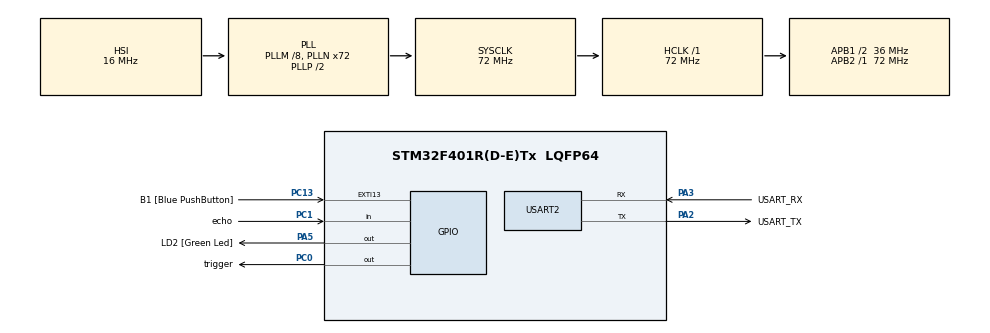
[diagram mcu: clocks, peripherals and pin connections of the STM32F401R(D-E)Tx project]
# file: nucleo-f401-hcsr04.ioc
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Mcu.Family=STM32F4
Mcu.Name=STM32F401R(D-E)Tx
Mcu.Package=LQFP64
NVIC.PriorityGroup=NVIC_PRIORITYGROUP_0
PA13.GPIO_Label=TMS
PA13.Mode=Serial_Wire
PA13.Signal=SYS_JTMS-SWDIO
PA14.GPIO_Label=TCK
PA14.Mode=Serial_Wire
PA14.Signal=SYS_JTCK-SWCLK
PA2.GPIO_Label=USART_TX
PA2.GPIO_Mode=GPIO_MODE_AF_PP
PA2.GPIO_PuPd=GPIO_NOPULL
PA2.GPIO_Speed=GPIO_SPEED_FREQ_LOW
PA2.Mode=Asynchronous
PA2.Signal=USART2_TX
PA3.GPIO_Label=USART_RX
PA3.GPIO_Mode=GPIO_MODE_AF_PP
PA3.GPIO_PuPd=GPIO_NOPULL
PA3.GPIO_Speed=GPIO_SPEED_FREQ_LOW
PA3.Mode=Asynchronous
PA3.Signal=USART2_RX
PA5.GPIO_Label=LD2 [Green Led]
PA5.GPIO_Mode=GPIO_MODE_OUTPUT_PP
PA5.GPIO_PuPd=GPIO_NOPULL
PA5.GPIO_Speed=GPIO_SPEED_FREQ_LOW
PA5.Signal=GPIO_Output
PB3.GPIO_Label=SWO
PB3.Signal=SYS_JTDO-SWO
PC0.GPIO_Label=trigger
PC0.Signal=GPIO_Output
PC1.GPIO_Label=echo
PC1.Signal=GPIO_Input
PC13-ANTI_TAMP.GPIO_Label=B1 [Blue PushButton]
PC13-ANTI_TAMP.GPIO_ModeDefaultEXTI=GPIO_MODE_IT_FALLING
PC13-ANTI_TAMP.GPIO_PuPd=GPIO_NOPULL
PC13-ANTI_TAMP.Signal=GPXTI13
PC14-OSC32_IN.Mode=LSE-External-Oscillator
PC14-OSC32_IN.Signal=RCC_OSC32_IN
PC15-OSC32_OUT.Mode=LSE-External-Oscillator
PC15-OSC32_OUT.Signal=RCC_OSC32_OUT
PH0\ -\ OSC_IN.Mode=HSE-External-Clock-Source
PH0\ -\ OSC_IN.Signal=RCC_OSC_IN
PH1\ -\ OSC_OUT.Mode=HSE-External-Clock-Source
PH1\ -\ OSC_OUT.Signal=RCC_OSC_OUT
ProjectManager.HeapSize=0x200
ProjectManager.StackSize=0x400
ProjectManager.TargetToolchain=STM32CubeIDE
RCC.48MHZClocksFreq_Value=20571428.57142857
RCC.AHBFreq_Value=72000000
RCC.APB1CLKDivider=RCC_HCLK_DIV2
RCC.APB1Freq_Value=36000000
RCC.APB1TimFreq_Value=72000000
RCC.APB2Freq_Value=72000000
RCC.APB2TimFreq_Value=72000000
RCC.CortexFreq_Value=72000000
RCC.HCLKFreq_Value=72000000
RCC.HSE_VALUE=8000000
RCC.HSI_VALUE=16000000
RCC.PLLM=8
RCC.PLLN=72
RCC.PLLQ=7
RCC.SYSCLKFreq_VALUE=72000000
RCC.SYSCLKSource=RCC_SYSCLKSOURCE_PLLCLK
RCC.VCOOutputFreq_Value=144000000
USART2.VirtualMode=VM_ASYNC
board=NUCLEO-F401RE

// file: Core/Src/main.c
/* USER CODE BEGIN Header */
/**
  ******************************************************************************
  * @file           : main.c
  * @brief          : Main program body
  ******************************************************************************
  * @attention
  *
  * <h2><center>&copy; Copyright (c) 2021 STMicroelectronics.
  * All rights reserved.</center></h2>
  *
  * This software component is licensed by ST under BSD 3-Clause license,
  * the "License"; You may not use this file except in compliance with the
  * License. You may obtain a copy of the License at:
  *                        opensource.org/licenses/BSD-3-Clause
  *
  ******************************************************************************
  */
/* USER CODE END Header */
#include "main.h"
#include "usart.h"
#include "gpio.h"

/* USER CODE BEGIN Includes */
#include "string.h"
#include "stdio.h"
#include "stdlib.h"

/* USER CODE END Includes */

void SystemClock_Config(void);

uint32_t DWT_Delay_Init(void);
__STATIC_INLINE void DWT_Delay_us(volatile uint32_t au32_microseconds);
__STATIC_INLINE void DWT_Delay_ms(volatile uint32_t au32_milliseconds);
float read_hcsr04();

int main(void)
{

  /* MCU Configuration--------------------------------------------------------*/

  /* Reset of all peripherals, Initializes the Flash interface and the Systick. */
  HAL_Init();

  /* Configure the system clock */
  SystemClock_Config();

  /* USER CODE BEGIN SysInit */
  DWT_Delay_Init();
  /* USER CODE END SysInit */

  /* Initialize all configured peripherals */
  MX_GPIO_Init();
  MX_USART2_UART_Init();
  /* USER CODE BEGIN 2 */
  char str[10];
  char endLine[2] = "\r\n";
  /* USER CODE END 2 */

  /* Infinite loop */
  /* USER CODE BEGIN WHILE */
  while (1)
  {
	  float distance = read_hcsr04();
	  sprintf(str,"%.2f cm",distance);

	  HAL_UART_Transmit(&huart2, (uint8_t*)str, strlen(str), HAL_MAX_DELAY);
	  HAL_UART_Transmit(&huart2, (uint8_t*)endLine, strlen(endLine), HAL_MAX_DELAY);

    /* USER CODE END WHILE */

  }
}

void SystemClock_Config(void)
{
  RCC_OscInitTypeDef RCC_OscInitStruct = {0};
  RCC_ClkInitTypeDef RCC_ClkInitStruct = {0};

  /** Configure the main internal regulator output voltage
  */
  __HAL_RCC_PWR_CLK_ENABLE();
  __HAL_PWR_VOLTAGESCALING_CONFIG(PWR_REGULATOR_VOLTAGE_SCALE2);
  /** Initializes the RCC Oscillators according to the specified parameters
  * in the RCC_OscInitTypeDef structure.
  */
  RCC_OscInitStruct.OscillatorType = RCC_OSCILLATORTYPE_HSI;
  RCC_OscInitStruct.HSIState = RCC_HSI_ON;
  RCC_OscInitStruct.HSICalibrationValue = RCC_HSICALIBRATION_DEFAULT;
  RCC_OscInitStruct.PLL.PLLState = RCC_PLL_ON;
  RCC_OscInitStruct.PLL.PLLSource = RCC_PLLSOURCE_HSI;
  RCC_OscInitStruct.PLL.PLLM = 8;
  RCC_OscInitStruct.PLL.PLLN = 72;
  RCC_OscInitStruct.PLL.PLLP = RCC_PLLP_DIV2;
  RCC_OscInitStruct.PLL.PLLQ = 7;
  if (HAL_RCC_OscConfig(&RCC_OscInitStruct) != HAL_OK)
  {
    Error_Handler();
  }
  /** Initializes the CPU, AHB and APB buses clocks
  */
  RCC_ClkInitStruct.ClockType = RCC_CLOCKTYPE_HCLK|RCC_CLOCKTYPE_SYSCLK
                              |RCC_CLOCKTYPE_PCLK1|RCC_CLOCKTYPE_PCLK2;
  RCC_ClkInitStruct.SYSCLKSource = RCC_SYSCLKSOURCE_PLLCLK;
  RCC_ClkInitStruct.AHBCLKDivider = RCC_SYSCLK_DIV1;
  RCC_ClkInitStruct.APB1CLKDivider = RCC_HCLK_DIV2;
  RCC_ClkInitStruct.APB2CLKDivider = RCC_HCLK_DIV1;

  if (HAL_RCC_ClockConfig(&RCC_ClkInitStruct, FLASH_LATENCY_2) != HAL_OK)
  {
    Error_Handler();
  }
}

/* USER CODE BEGIN 4 */

uint32_t DWT_Delay_Init(void)
{
    /* Disable TRC */
    CoreDebug->DEMCR &= ~CoreDebug_DEMCR_TRCENA_Msk; // ~0x01000000;
    /* Enable TRC */
    CoreDebug->DEMCR |=  CoreDebug_DEMCR_TRCENA_Msk; // 0x01000000;

    /* Disable clock cycle counter */
    DWT->CTRL &= ~DWT_CTRL_CYCCNTENA_Msk; //~0x00000001;
    /* Enable  clock cycle counter */
    DWT->CTRL |=  DWT_CTRL_CYCCNTENA_Msk; //0x00000001;

    /* Reset the clock cycle counter value */
    DWT->CYCCNT = 0;

    /* 3 NO OPERATION instructions */
    __ASM volatile ("NOP");
    __ASM volatile ("NOP");
    __ASM volatile ("NOP");

    /* Check if clock cycle counter has started */
    if(DWT->CYCCNT)
    {
       return 0; /*clock cycle counter started*/
    }
    else
    {
      return 1; /*clock cycle counter not started*/
    }
}

__STATIC_INLINE void DWT_Delay_us(volatile uint32_t au32_microseconds)
{
  uint32_t au32_initial_ticks = DWT->CYCCNT;
  uint32_t au32_ticks = (HAL_RCC_GetHCLKFreq() / 1000000);
  au32_microseconds *= au32_ticks;
  while ((DWT->CYCCNT - au32_initial_ticks) < au32_microseconds-au32_ticks);
}

__STATIC_INLINE void DWT_Delay_ms(volatile uint32_t au32_milliseconds)
{
  uint32_t au32_initial_ticks = DWT->CYCCNT;
  uint32_t au32_ticks = (HAL_RCC_GetHCLKFreq() / 1000);
  au32_milliseconds *= au32_ticks;
  while ((DWT->CYCCNT - au32_initial_ticks) < au32_milliseconds);
}

float read_hcsr04(){
	uint32_t tempTime = 0;
	float tempDistance = 0.0;		//Variable definitons for measurement

	HAL_GPIO_WritePin(GPIOC, trigger_Pin, GPIO_PIN_SET);
	DWT_Delay_us(10);
	HAL_GPIO_WritePin(GPIOC, trigger_Pin, GPIO_PIN_RESET); //Set trigger to HIGH for 10 us

	while(!HAL_GPIO_ReadPin(GPIOC, echo_Pin));	//Wait till echo is SET

	while(HAL_GPIO_ReadPin(GPIOC, echo_Pin) == GPIO_PIN_SET){
		tempTime = tempTime + 1;
		DWT_Delay_us(1);	//While echo is set , calculate the time/0
	}

	tempDistance = (float)tempTime / 58;	//Calculate distance
	DWT_Delay_ms(50);	//Wait a little bir for new measurement
	return tempDistance;
}

/* USER CODE END 4 */

void Error_Handler(void)
{
  __disable_irq();
  while (1)
  {
  }
}

/************************ (C) COPYRIGHT STMicroelectronics *****END OF FILE****/
